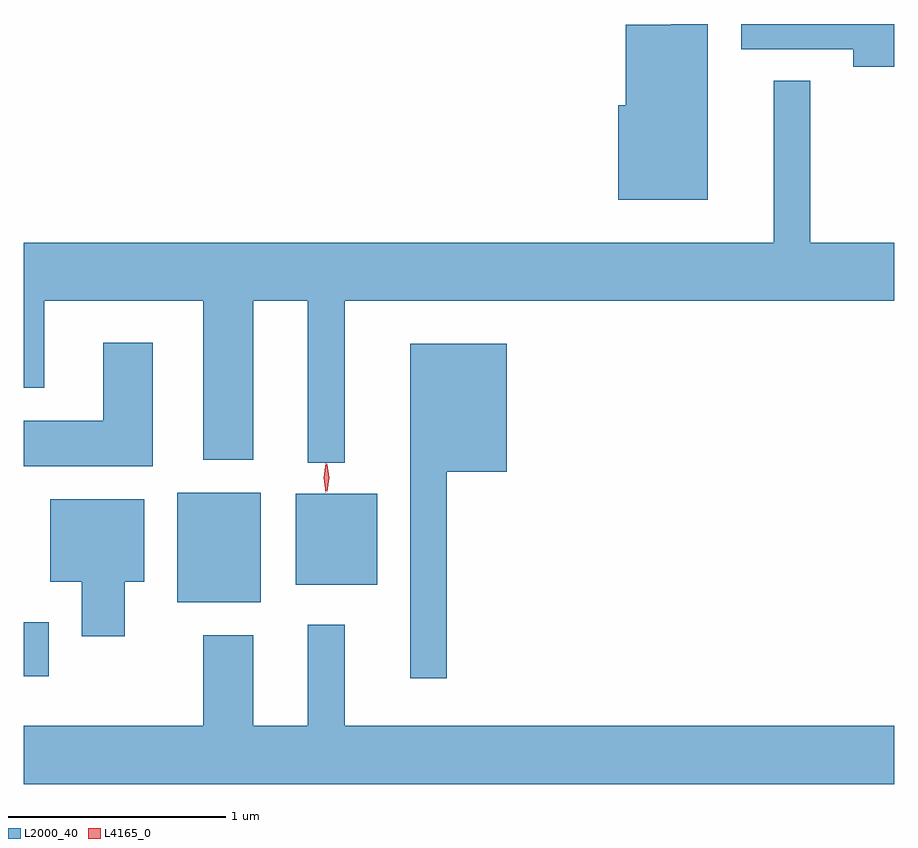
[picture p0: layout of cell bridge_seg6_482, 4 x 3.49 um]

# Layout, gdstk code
import gdstk
lib = gdstk.Library(unit=1e-6, precision=1e-09)
def R(c, l, rs):  # rectangles x0, y0, x1, y1
    for r in rs: c.add(gdstk.rectangle(r[:2], r[2:], *l))
def P(c, l, *ps):  # polygons
    for p in ps: c.add(gdstk.Polygon(p, *l))
L2000_40 = (2000, 40)
L4165_0 = (4165, 0)

bridge_seg6_482 = lib.new_cell('bridge_seg6_482')
R(bridge_seg6_482, L2000_40, [(1009.175,1597.151,1009.289,1597.399), (1009.881,1597.491,1010.264,1597.994), (1010.426,1597.571,1010.799,1597.989)])
P(bridge_seg6_482, L2000_40, [(1013.175,1600.148),(1012.471,1600.148),(1012.471,1600.031),(1012.986,1600.031),(1012.986,1599.951),(1013.175,1599.951)],
  [(1012.319,1600.148),(1012.151,1600.148),(1012.151,1600.144),(1011.941,1600.144),(1011.941,1599.774),(1011.906,1599.774),(1011.906,1599.341),(1012.319,1599.341)],
  [(1010.649,1598.876),(1013.175,1598.876),(1013.175,1599.144),(1012.789,1599.144),(1012.789,1599.888),(1012.621,1599.888),(1012.621,1599.144),(1009.175,1599.144),(1009.175,1598.476),(1009.269,1598.476),(1009.269,1598.876),(1010.001,1598.876),(1010.001,1598.146),(1010.229,1598.146),(1010.229,1598.876),(1010.481,1598.876),(1010.481,1598.133),(1010.649,1598.133)],
  [(1009.769,1598.684),(1009.541,1598.684),(1009.541,1598.324),(1009.175,1598.324),(1009.175,1598.116),(1009.769,1598.116)],
  [(1011.119,1598.091),(1011.394,1598.091),(1011.394,1598.679),(1010.951,1598.679),(1010.951,1597.143),(1011.119,1597.143)],
  [(1009.639,1597.586),(1009.729,1597.586),(1009.729,1597.964),(1009.296,1597.964),(1009.296,1597.586),(1009.441,1597.586),(1009.441,1597.336),(1009.639,1597.336)],
  [(1013.175,1596.924),(1010.649,1596.924),(1010.649,1597.388),(1010.481,1597.388),(1010.481,1596.924),(1010.229,1596.924),(1010.229,1597.339),(1010.001,1597.339),(1010.001,1596.924),(1009.175,1596.924),(1009.175,1596.656),(1013.175,1596.656)])
P(bridge_seg6_482, L4165_0, [(1010.562,1597.994),(1010.553,1598.062),(1010.562,1598.13),(1010.563,1598.13),(1010.563,1598.13),(1010.573,1598.062),(1010.563,1597.994),(1010.563,1597.994)],
  [(1010.569,1597.998),(1010.569,1597.998),(1010.559,1598.062),(1010.568,1598.126),(1010.568,1598.127),(1010.569,1598.126),(1010.579,1598.062),(1010.57,1597.998)])

lib.write_gds('bridge_seg6_482.gds')
